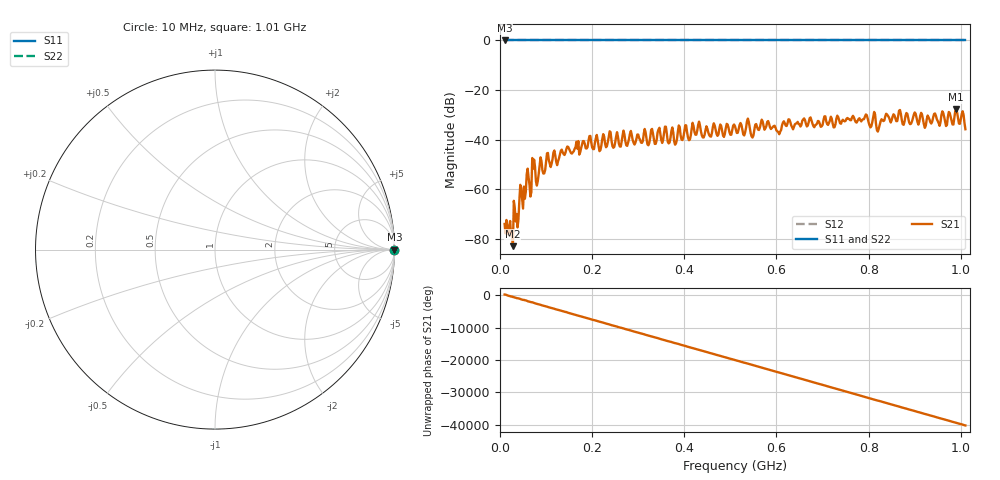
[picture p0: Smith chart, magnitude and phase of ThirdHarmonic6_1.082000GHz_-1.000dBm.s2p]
! 8/16/2025 9:57:28 AM
! C:\ANRITSUVNA\TEMP\TEMP.S2P
! CHANNEL.1
! TR.MEASUREMENT
! RAW.DATA
! RF.CORRECTION.OFF
! AVERAGING.OFF
! IF.BANDWIDTH: 5KHZ
! SWEEPTYPE:  FREQ.SWEEP(Linear)
! Reference Plane Port Info
! PORT:  PORT1  PORT2
! DISTANCE:  0  m  0  m
! TIME:  0  s  0  s
! PHASE.OFFSET:  0  deg.  0  deg.
! LOSS:  0  dB  0  dB
! REF.LOSS:  0  dB  0  dB
! REF.FREQ:  0  Hz  0  Hz
! Power Info
! POWER:  -20  dBm  -20  dBm
! EFF.POWER:  -20  dBm  -20  dBm
! SOURCE.ATTEN:  0  dB  0  dB
! TEST.ATTEN:  0  dB  0  dB
# GHZ S RI R 50.0
! FREQ.GHZ  S11RE  S11IM  S21RE  S21IM  S12RE  S12IM  S22RE  S22IM
!; PortSelection: Port_12
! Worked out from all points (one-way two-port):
!   501 points, 10 MHz to 1.01 GHz, reference 50 ohm
!   highest |S21| = -27.80 dB at 990 MHz (marker M1); lowest = -82.8 dB at 28 MHz (marker M2)
!   lowest |S11| = 0.0 dB at 10 MHz (marker M3)
!   |S11| at or under -10 dB: nowhere
!   |S22| runs from 0.0 to 0.0 dB; largest |S21 - S12| = 1
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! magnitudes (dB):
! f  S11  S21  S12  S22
! 10 MHz  0.0  -73.9  0.0  0.0
! 28 MHz  0.0  -82.8  0.0  0.0
! 74 MHz  0.0  -48.0  0.0  0.0
! 82 MHz  0.0  -56.6  0.0  0.0
! 104 MHz  0.0  -45.3  0.0  0.0
! 178 MHz  0.0  -41.9  0.0  0.0
! 344 MHz  0.0  -35.8  0.0  0.0
! 380 MHz  0.0  -42.0  0.0  0.0
! 432 MHz  0.0  -32.7  0.0  0.0
! 440 MHz  0.0  -39.0  0.0  0.0
! 510 MHz  0.0  -34.5  0.0  0.0
! 538 MHz  0.0  -31.5  0.0  0.0
! 548 MHz  0.0  -39.1  0.0  0.0
! 568 MHz  0.0  -31.9  0.0  0.0
! 604 MHz  0.0  -36.9  0.0  0.0
! 678 MHz  0.0  -33.4  0.0  0.0
! 794 MHz  0.0  -29.8  0.0  0.0
! 820 MHz  0.0  -36.7  0.0  0.0
! 844 MHz  0.0  -30.9  0.0  0.0
! 922 MHz  0.0  -35.2  0.0  0.0
! 990 MHz  0.0  -27.8  0.0  0.0
! 1.01 GHz  0.0  -35.7  0.0  0.0
